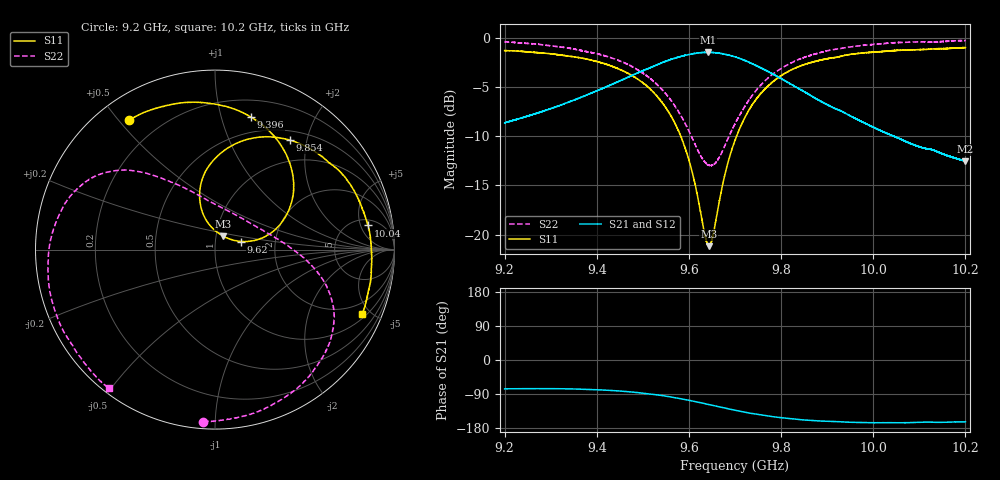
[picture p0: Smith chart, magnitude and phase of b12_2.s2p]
!Agilent Technologies,N5242A,MY51221714,A.09.90.19
!Agilent N5242A: A.09.90.19
!Date: Saturday, December 30, 2023 10:03:39
!Correction: S11(Full 2 Port(1,2))
!S21(Full 2 Port(1,2))
!S12(Full 2 Port(1,2))
!S22(Full 2 Port(1,2))
!S2P File: Measurements: S11, S21, S12, S22:
# Hz S  dB  R 50
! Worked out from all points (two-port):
!   16001 points, 9.2 GHz to 10.2 GHz, reference 50 ohm
!   highest |S21| = -1.43 dB at 9.641 GHz (marker M1); lowest = -12.5 dB at 10.2 GHz (marker M2)
!   |S21| within 3 dB of the highest: 9.445853 GHz to 9.446491 GHz (637.7 kHz wide, 0.00675 % of centre); 9.447 GHz to 9.812 GHz (365.7 MHz wide, 3.8 % of centre)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
!   lowest |S11| = -21.2 dB at 9.643 GHz (marker M3), VSWR 1.19, Z = 54 + j8.17 ohm
!   |S11| at or under -10 dB: 9.582 GHz to 9.703 GHz (120.7 MHz wide, 1.25 % of centre)
!   |S22| runs from -13.0 to -0.2 dB; largest |S21 - S12| = 0.011
!   S11 on the Smith chart (normalised r, x): 9.2 GHz: 0.09, +0.53; 9.396 GHz: 0.35, +1.25; 9.62 GHz: 1.34, +0.12; 9.854 GHz: 0.64, +1.71; 10.04 GHz: 6.40, +6.74; 10.2 GHz: 1.21, -4.43
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9.2e9  -1.26 123.6  -8.62 -76.1  -8.60 -76.8  -0.35 -93.9
9.278e9  -1.50 105.3  -7.52 -75.6  -7.51 -76.1  -0.65 -72.8
9.366688e9  -2.02 83.0  -6.01 -77.0  -5.99 -77.7  -1.25 -49.9
9.396188e9  -2.32 74.8  -5.43 -78.1  -5.42 -78.9  -1.55 -42.4
9.472438e9  -3.70 51.7  -3.88 -84.1  -3.87 -84.7  -2.79 -25.1
9.533375e9  -6.05 31.4  -2.65 -92.4  -2.64 -93.0  -4.83 -11.6
9.583062e9  -10.07 15.9  -1.85 -102.4  -1.83 -103.0  -7.94 3.6
9.619562e9  -16.30 17.1  -1.50 -111.3  -1.49 -111.9  -11.44 27.5
9.641375e9  -21.02 54.6  -1.43 -117.0  -1.43 -117.7  -12.89 54.2
9.643062e9  -21.18 59.4  -1.45 -117.5  -1.43 -118.1  -12.93 56.6
9.663062e9  -17.36 101.3  -1.50 -122.8  -1.50 -123.5  -12.35 84.0
9.7e9  -10.41 106.4  -1.89 -132.5  -1.87 -133.3  -8.71 114.1
9.734312e9  -7.00 96.2  -2.53 -140.6  -2.51 -141.3  -6.02 127.0
9.780438e9  -4.50 79.7  -3.61 -149.3  -3.61 -150.0  -3.71 137.3
9.853625e9  -2.63 55.7  -5.54 -158.6  -5.53 -159.2  -1.90 151.0
9.866688e9  -2.45 51.8  -5.90 -159.7  -5.90 -160.4  -1.70 153.6
9.952062e9  -1.63 29.2  -7.96 -164.3  -7.96 -164.9  -0.87 171.9
1.003338e10  -1.30 10.0  -9.77 -165.5  -9.76 -166.2  -0.50 -169.3
1.003819e10  -1.28 9.0  -9.86 -165.5  -9.85 -166.1  -0.47 -168.2
1.010662e10  -1.15 -5.2  -11.15 -164.2  -11.14 -164.8  -0.36 -151.3
1.0199e10  -0.96 -23.5  -12.53 -163.1  -12.49 -163.9  -0.23 -127.6
1.02e10  -0.95 -23.8  -12.53 -163.1  -12.52 -163.9  -0.24 -127.3
